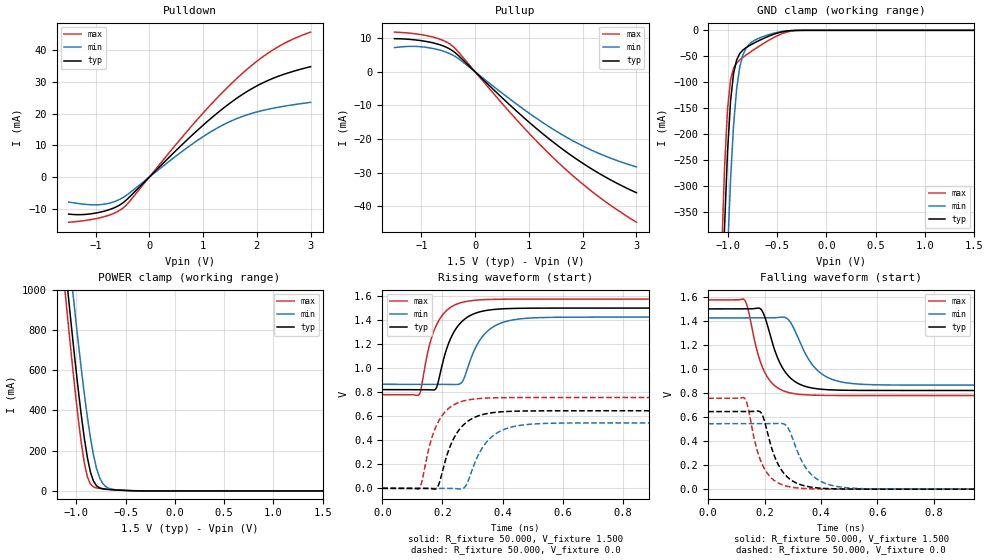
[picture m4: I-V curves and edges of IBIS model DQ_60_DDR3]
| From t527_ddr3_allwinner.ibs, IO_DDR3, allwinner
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|   Model DQ_60_DDR3
[Model] DQ_60_DDR3
Model_type I/O
Polarity   Non-Inverting
Enable   Active-Low
Vinl =  0.750V
Vinh =  0.750V
C_comp   1.571pF   1.535pF   1.615pF
C_comp_pullup   0.511pF   0.494pF   0.532pF
C_comp_pulldown   0.795pF   0.776pF   0.819pF
[Model Spec]
Vinh   0.750V   0.712V   0.787V
Vinl   0.750V   0.712V   0.787V
[Temperature Range]   25.000   0.125k   -40.000
[Voltage Range]   1.500V   1.425V   1.575V
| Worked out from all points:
|   slope of the pulldown table from 0 to 0.225 V, typ, clamps not added: 58.9 ohm
|   slope of the pullup table from 0 to 0.225 V, typ, clamps not added: 64.4 ohm
|   GND clamp passes 1 mA (typ) near -0.39 V on its own axis
|   POWER clamp passes 1 mA (typ) near -0.43 V on its own axis
|   rising waveform, R_fixture 50.000, V_fixture 1.500: 20-80 % time 63.2ps typ, 71.5ps min, 56.2ps max; typ from 0.821 V to 1.5 V
|   rising waveform, R_fixture 50.000, V_fixture 0.0: 20-80 % time 66.8ps typ, 75.2ps min, 59.4ps max; typ from 0 V to 0.645 V
|   falling waveform, R_fixture 50.000, V_fixture 1.500: 20-80 % time 68.9ps typ, 84.1ps min, 59.5ps max; typ from 1.5 V to 0.821 V
|   falling waveform, R_fixture 50.000, V_fixture 0.0: 20-80 % time 64.2ps typ, 74.5ps min, 56.3ps max; typ from 0.645 V to 0 V
[Pulldown]
|Voltage   I(typ)   I(min)   I(max)
-1.5V     -11.64mA   -7.846mA   -14.18mA
-1.224V   -11.78mA   -8.504mA   -13.72mA
-902mV    -10.98mA   -8.643mA   -12.73mA
-672mV    -9.791mA   -7.845mA   -11.5mA
-488mV    -8.066mA   -6.424mA   -9.724mA
846mV     13.96mA    10.96mA    17.21mA
1.214V    19.43mA    14.96mA    24.07mA
1.582V    24.27mA    18.09mA    30.31mA
1.95V     28.23mA    20.26mA    35.76mA
2.272V    30.87mA    21.56mA    39.71mA
2.594V    32.84mA    22.54mA    42.78mA
3V        34.74mA    23.52mA    45.62mA
[Pullup]
|Voltage   I(typ)   I(min)   I(max)
-1.5V     9.873mA    7.214mA    11.83mA
-1.232V   9.681mA    7.573mA    11.53mA
-956mV    9.161mA    7.383mA    10.94mA
-680mV    8.184mA    6.564mA    9.86mA
-450mV    6.594mA    5.252mA    8.053mA
-312mV    4.857mA    3.941mA    5.918mA
792mV     -12.01mA   -9.856mA   -14.65mA
1.482V    -21.3mA    -17.41mA   -26.04mA
1.85V     -25.6mA    -20.81mA   -31.39mA
2.218V    -29.41mA   -23.71mA   -36.2mA
2.586V    -32.76mA   -26.11mA   -40.51mA
3V        -36mA      -28.31mA   -44.78mA
[GND_clamp]
|Voltage   I(typ)   I(min)   I(max)
-1.5V     -3.542A    -3.63A     -3.522A
-1.066V   -574.9mA   -807mA     -446.3mA
-1.035V   -383.4mA   -606.8mA   -267.9mA
-1.004V   -234mA     -430.3mA   -151.7mA
-973mV    -135.8mA   -286.6mA   -95.12mA
-942mV    -82.41mA   -181mA     -72.43mA
-911mV    -56.9mA    -111.8mA   -62.62mA
-880mV    -44.73mA   -70.74mA   -56.82mA
-849mV    -38.08mA   -47.74mA   -52.2mA
-756mV    -26.67mA   -22.36mA   -39.79mA
-322mV    -204.2uA   -258.8uA   -609.2uA
1.5V      0A         0A         0A
[POWER_clamp]
|Voltage   I(typ)   I(min)   I(max)
-1.5V     3.137A     3.334A     3.027A
-1.135V   1.239A     1.47A      1.1A
-1.104V   1.085A     1.319A     943.4mA
-1.073V   933.1mA    1.169A     789.3mA
-1.042V   784.9mA    1.022A     639.4mA
-1.011V   641.4mA    879mA      495.4mA
-918mV    261.7mA    482mA      139mA
-887mV    165.4mA    366.5mA    69.82mA
-825mV    48.42mA    178mA      19.77mA
-732mV    10.66mA    37.14mA    10.79mA
-608mV    4.953mA    6.242mA    6.01mA
1.5V      0A         0A         0A
[Ramp]
| variable   typ   min   max
dV/dt_r   0.387/66.779p   0.327/75.216p   0.454/59.454p
dV/dt_f   0.407/68.987p   0.336/84.139p   0.477/59.640p
R_load = 50.000
[Rising Waveform]
R_fixture= 50.000
V_fixture= 1.500
V_fixture_min= 1.425
V_fixture_max= 1.575
|time   V(typ)   V(min)   V(max)
0s        821.3mV    865.7mV    779.3mV
123ps     821.5mV    865.7mV    781.9mV
153ps     820.3mV    865.7mV    1.154V
176ps     823mV      865.7mV    1.336V
229ps     1.257V     863.9mV    1.509V
263ps     1.384V     877.6mV    1.546V
287ps     1.431V     1.025V     1.559V
352ps     1.483V     1.313V     1.572V
472ps     1.499V     1.414V     1.575V
2ns       1.5V       1.425V     1.575V
[Rising Waveform]
R_fixture= 50.000
V_fixture= 0.0
V_fixture_min= 0.0
V_fixture_max= 0.0
|time   V(typ)   V(min)   V(max)
0s        6.522uV    110.7uV    696nV
123ps     246.6uV    122.3uV    480.9uV
180ps     -978.9uV   266.7uV    521.8mV
235ps     402.4mV    -393.1uV   690.9mV
272ps     532.7mV    4.418mV    728.3mV
293ps     572.4mV    112.8mV    738.8mV
325ps     607.8mV    304.3mV    747.7mV
361ps     627.5mV    421.6mV    752.4mV
481ps     643.8mV    531.2mV    755.8mV
2ns       645.5mV    544.7mV    756mV
[Falling Waveform]
R_fixture= 50.000
V_fixture= 1.500
V_fixture_min= 1.425
V_fixture_max= 1.575
|time   V(typ)   V(min)   V(max)
0s        1.5V       1.425V     1.575V
129ps     1.5V       1.425V     1.574V
186ps     1.499V     1.425V     1.054V
214ps     1.331V     1.425V     918.7mV
252ps     1.061V     1.43V      834.8mV
303ps     903mV      1.342V     795.5mV
349ps     852.1mV    1.109V     784.6mV
386ps     835.4mV    992.1mV    781.4mV
504ps     822.5mV    880.6mV    779.4mV
2ns       821.3mV    865.7mV    779.3mV
[Falling Waveform]
R_fixture= 50.000
V_fixture= 0.0
V_fixture_min= 0.0
V_fixture_max= 0.0
|time   V(typ)   V(min)   V(max)
0s        645.5mV    544.7mV    756mV
130ps     645.2mV    544.7mV    754.2mV
184ps     644.3mV    544.6mV    249.2mV
243ps     230.5mV    547.2mV    58.55mV
275ps     114.4mV    533.3mV    26.86mV
297ps     71.33mV    436.6mV    15.73mV
331ps     34.64mV    237.4mV    6.895mV
368ps     15.76mV    116.8mV    2.777mV
484ps     1.336mV    13.52mV    165.1uV
2ns       6.536uV    110.8uV    697.7nV
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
